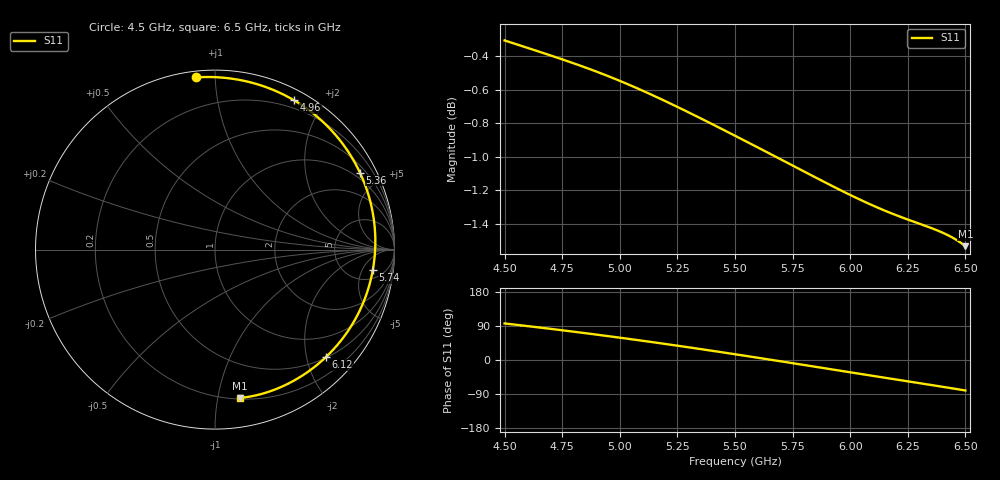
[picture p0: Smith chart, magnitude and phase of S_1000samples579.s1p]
! TOUCHSTONE file generated by CST MICROWAVE STUDIO
! Date and time: Fri Oct 28 16:13:28 2022
! Project name: L.cst
! Parameters = {Di=1.27; Epsilon_r=1.56; InnerDiameter=1.27; Length=2; Lf=10; Lg=60; OuterConductorThickness=0.2921; OuterDiameter=3.6; Wf=3; Wp=41.2; de=1.5; df=6.8; g=0.8; gx=2.79162; gy=4.68495; h=2.34; hf=1.524; px=8.36295; py=13.8408; w=9.7; wx=5.57134; wy=9.15582}
! Header version: 2018
! Port assignment regex: !\s*Touchstone port\s*([0-9]+)\s*=\s*(CST MWS port|CST DS port)\s*([0-9]+|Zmin|Zmax)\s*\(\"(.*)\"\)(\s*mode\s*([0-9]+))?.*
! Touchstone port assignment:
! Touchstone port 1 = CST MWS port 1 ("")
# GHz S DB R 50
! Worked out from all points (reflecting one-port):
!   101 points, 4.5 GHz to 6.5 GHz, reference 50 ohm
!   lowest |S11| = -1.5 dB at 6.5 GHz (marker M1), VSWR 11.35, Z = 10.5 - j58.1 ohm
!   phase of S11 starts at 96 deg and turns -177 deg over the sweep
!   S11 on the Smith chart (normalised r, x): 4.5 GHz: 0.03, +0.89; 4.96 GHz: 0.11, +1.65; 5.36 GHz: 0.74, +3.88; 5.74 GHz: 8, -8; 6.12 GHz: 0.52, -2.38; 6.5 GHz: 0.21, -1.16
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4.5  -0.31 96.4
4.64  -0.37 86.5
4.76  -0.42 77.7
4.86  -0.47 70.0
4.96  -0.53 62.1
5  -0.55 58.9
5.12  -0.62 48.9
5.18  -0.66 43.8
5.26  -0.71 36.9
5.36  -0.78 28.0
5.44  -0.83 20.7
5.5  -0.88 15.2
5.56  -0.92 9.6
5.62  -0.96 4.0
5.68  -1.00 -1.7
5.74  -1.05 -7.5
5.76  -1.06 -9.4
5.82  -1.10 -15.1
5.88  -1.15 -20.9
5.94  -1.19 -26.7
6  -1.23 -32.4
6.12  -1.30 -43.9
6.2  -1.35 -51.5
6.26  -1.38 -57.3
6.32  -1.41 -63.0
6.38  -1.44 -68.7
6.44  -1.48 -74.5
6.5  -1.53 -80.4
